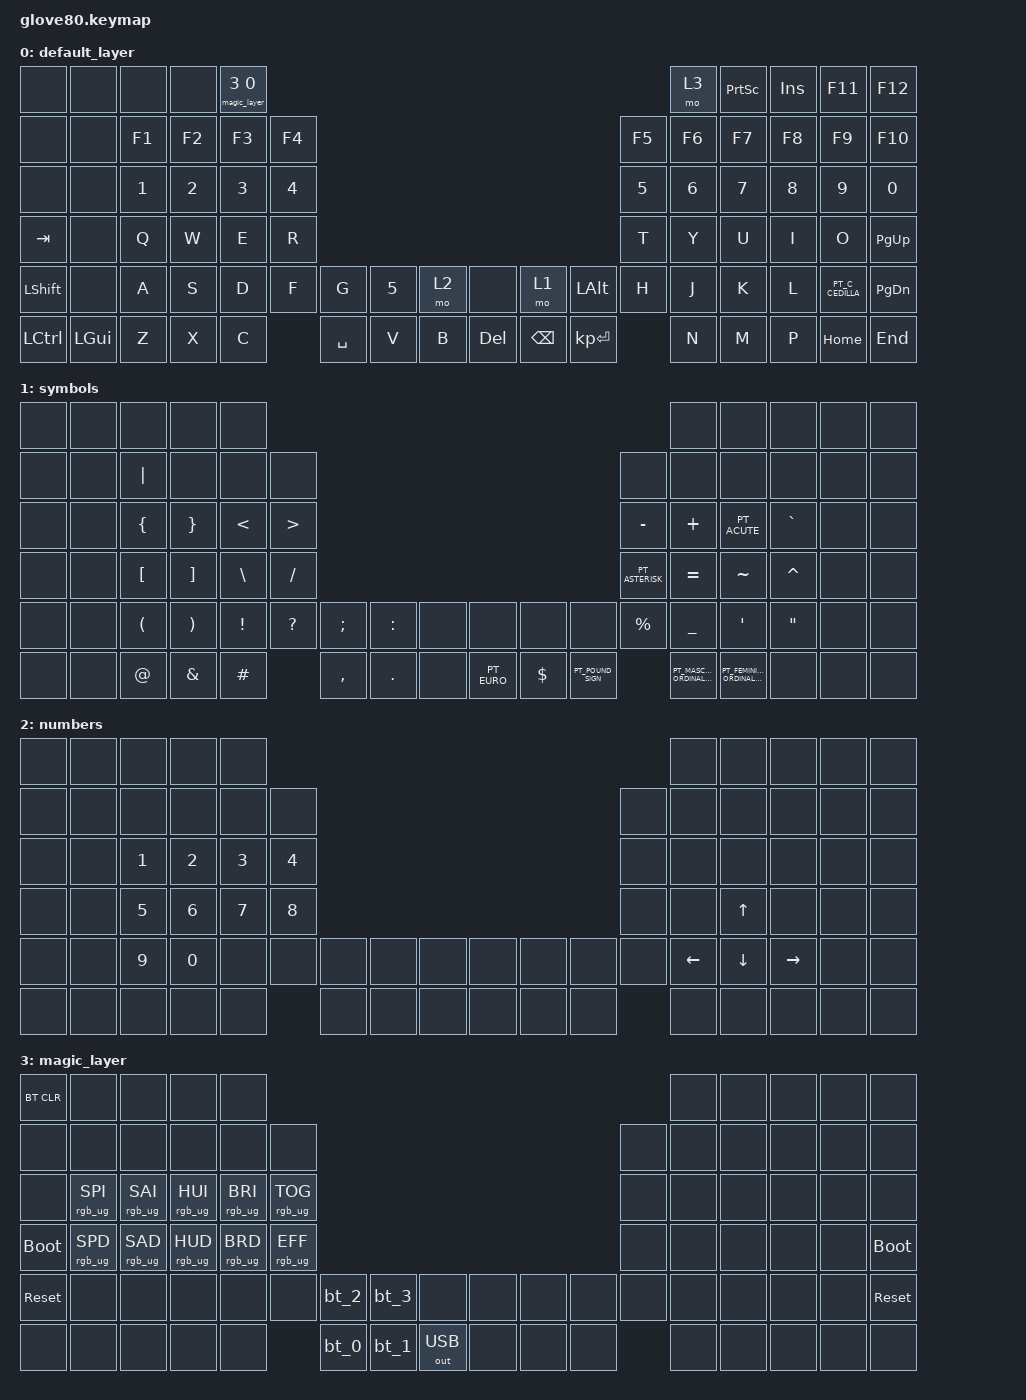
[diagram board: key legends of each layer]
/*
 * Copyright (c) 2020 The ZMK Contributors
 *
 * SPDX-License-Identifier: MIT
 */

#include "keys_pt.h"
#include <behaviors.dtsi>
#include <dt-bindings/zmk/bt.h>
#include <dt-bindings/zmk/keys.h>
#include <dt-bindings/zmk/outputs.h>
#include <dt-bindings/zmk/rgb.h>
#include <dt-bindings/zmk/ext_power.h>

// layers

#define DEFAULT 0
#define LOWER 1
#define MAGIC 2

/ {
    behaviors {
        // For the "layer" key, it'd nice to be able to use it as either a shift or a toggle.
        // Configure it as a tap dance, so the first tap (or hold) is a &mo and the second tap is a &to
        layer_td: tap_dance_0 {
            compatible = "zmk,behavior-tap-dance";
            label = "LAYER_TAP_DANCE";
            #binding-cells = <0>;
            tapping-term-ms = <200>;
            bindings = <&mo LOWER>, <&to LOWER>;
        };

        magic: magic_hold_tap {
            compatible = "zmk,behavior-hold-tap";
            label = "MAGIC_HOLD_TAP";
            #binding-cells = <2>;
            flavor = "tap-preferred";
            tapping-term-ms = <200>;
            bindings = <&mo>, <&rgb_ug_status_macro>;
        };
    };

    macros {
        rgb_ug_status_macro: rgb_ug_status_macro_0 {
            label = "RGB_UG_STATUS";
            compatible = "zmk,behavior-macro";
            #binding-cells = <0>;
            bindings
                = <&rgb_ug RGB_STATUS>;
        };

        bt_0: bt_profile_macro_0 {
            label = "BT_0";
            compatible = "zmk,behavior-macro";
            #binding-cells = <0>;
            bindings
                = <&out OUT_BLE>,
                  <&bt BT_SEL 0>;
        };

        bt_1: bt_profile_macro_1 {
            label = "BT_1";
            compatible = "zmk,behavior-macro";
            #binding-cells = <0>;
            bindings
                = <&out OUT_BLE>,
                  <&bt BT_SEL 1>;
        };

        bt_2: bt_profile_macro_2 {
            label = "BT_2";
            compatible = "zmk,behavior-macro";
            #binding-cells = <0>;
            bindings
                = <&out OUT_BLE>,
                  <&bt BT_SEL 2>;
        };

        bt_3: bt_profile_macro_3 {
            label = "BT_3";
            compatible = "zmk,behavior-macro";
            #binding-cells = <0>;
            bindings
                = <&out OUT_BLE>,
                  <&bt BT_SEL 3>;
        };
    };

    keymap {
        compatible = "zmk,keymap";

        default_layer {
            // ---------------------------------------------------------------------------------------------------------------------------------
            // |  F1   |  F2 |  F3 |  F4  |  F5  |                                                               |  F6   |  F7   |  F8  |   F9  |  F10 |
            // |  =    |  1  |  2  |  3   |  4   |  5   |                                                 |  6   |   7   |   8   |  9   |   0   |   -  |
            // |  TAB  |  Q  |  W  |  E   |  R   |  T   |                                                 |  Y   |   U   |   I   |  O   |   P   |   \  |
            // |  ESC  |  A  |  S  |  D   |  F   |  G   |                                                 |  H   |   J   |   K   |  L   |   ;   |   '  |
            // |   `   |  Z  |  X  |  C   |  V   |  B   | LSHFT | LCTRL | LOWER | | LGUI  | RCTRL | RSHFT |  N   |   M   |   ,   |  .   |   Ç   | PGUP |
            // | MAGIC | HOME| END | LEFT | RIGHT|      | BSPC  | DEL   | LALT  | | RALT  | RET   | SPACE |      |  UP   | DOWN  |  [   |   ]   | PGDN |

            bindings = <
&none             &none     &none         &none         &magic_layer 3 0                                                                                             &mo 3         &kp PRINTSCREEN  &kp INSERT  &kp F11           &kp F12
&none             &none     &kp F1        &kp F2        &kp F3            &kp F4                                                                             &kp F5  &kp F6        &kp F7           &kp F8      &kp F9            &kp F10
&none             &none     &kp NUMBER_1  &kp NUMBER_2  &kp NUMBER_3      &kp NUMBER_4                                                                       &kp N5  &kp NUMBER_6  &kp N7           &kp N8      &kp N9            &kp N0
&kp TAB           &none     &kp Q         &kp W         &kp E             &kp R                                                                              &kp T   &kp Y         &kp U            &kp I       &kp O             &kp PAGE_UP
&kp LSHIFT        &none     &kp A         &kp S         &kp D             &kp F         &kp G      &kp N5  &mo 2    &none       &mo 1          &kp LEFT_ALT  &kp H   &kp J         &kp K            &kp L       &kp PT_C_CEDILLA  &kp PAGE_DOWN
&kp LEFT_CONTROL  &kp LGUI  &kp Z         &kp X         &kp C                           &kp SPACE  &kp V   &kp B    &kp DELETE  &kp BACKSPACE  &kp KP_ENTER          &kp N         &kp M            &kp P       &kp HOME          &kp END
            >;
        };

        symbols {
            bindings = <
&none  &none  &none                 &none                  &none                                                                                                                  &none                               &none                              &none              &none  &none
&none  &none  &kp PIPE              &none                  &none          &none                                                                                  &none            &none                               &none                              &none              &none  &none
&none  &none  &kp LEFT_BRACE        &kp RIGHT_BRACE        &kp LT         &kp GT                                                                                 &kp MINUS        &kp PLUS                            &kp PT_ACUTE                       &kp GRAVE          &none  &none
&none  &none  &kp LEFT_BRACKET      &kp RIGHT_BRACKET      &kp BACKSLASH  &kp FSLH                                                                               &kp PT_ASTERISK  &kp EQUAL                           &kp TILDE                          &kp CARET          &none  &none
&none  &none  &kp LEFT_PARENTHESIS  &kp RIGHT_PARENTHESIS  &kp EXCL       &kp QMARK  &kp SEMI   &kp COLON   &none    &none        &none       &none              &kp PERCENT      &kp UNDERSCORE                      &kp SINGLE_QUOTE                   &kp DOUBLE_QUOTES  &none  &none
&none  &none  &kp AT_SIGN           &kp AMPERSAND          &kp HASH                  &kp COMMA  &kp PERIOD  &none    &kp PT_EURO  &kp DOLLAR  &kp PT_POUND_SIGN                   &kp PT_MASCULINE_ORDINAL_INDICATOR  &kp PT_FEMININE_ORDINAL_INDICATOR  &none              &none  &none
            >;
        };

        numbers {
            bindings = <
&none  &none  &none         &none         &none                                                                          &none     &none         &none            &none  &none
&none  &none  &none         &none         &none         &none                                                     &none  &none     &none         &none            &none  &none
&none  &none  &kp N1        &kp NUMBER_2  &kp N3        &kp N4                                                    &none  &none     &none         &none            &none  &none
&none  &none  &kp NUMBER_5  &kp N6        &kp NUMBER_7  &kp NUMBER_8                                              &none  &none     &kp UP_ARROW  &none            &none  &none
&none  &none  &kp N9        &kp NUMBER_0  &none         &none         &none  &none  &none    &none  &none  &none  &none  &kp LEFT  &kp DOWN      &kp RIGHT_ARROW  &none  &none
&none  &none  &none         &none         &none                       &none  &none  &none    &none  &none  &none         &none     &none         &none            &none  &none
            >;
        };

        magic_layer {
            bindings = <
&bt BT_CLR   &none            &none            &none            &none                                                                                       &none  &none  &none  &none  &none
&none        &none            &none            &none            &none            &none                                                               &none  &none  &none  &none  &none  &none
&none        &rgb_ug RGB_SPI  &rgb_ug RGB_SAI  &rgb_ug RGB_HUI  &rgb_ug RGB_BRI  &rgb_ug RGB_TOG                                                     &none  &none  &none  &none  &none  &none
&bootloader  &rgb_ug RGB_SPD  &rgb_ug RGB_SAD  &rgb_ug RGB_HUD  &rgb_ug RGB_BRD  &rgb_ug RGB_EFF                                                     &none  &none  &none  &none  &none  &bootloader
&sys_reset   &none            &none            &none            &none            &none            &bt_2  &bt_3  &none           &none  &none  &none  &none  &none  &none  &none  &none  &sys_reset
&none        &none            &none            &none            &none                             &bt_0  &bt_1  &out OUT_USB    &none  &none  &none         &none  &none  &none  &none  &none
            >;
        };
    };
};
